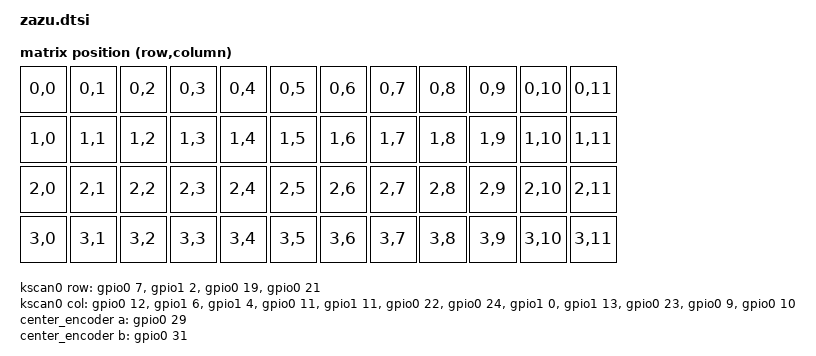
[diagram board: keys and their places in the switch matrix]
/*
 * Copyright (c) 2021 The ZMK Contributors
 *
 * SPDX-License-Identifier: MIT
 */

#include <dt-bindings/zmk/matrix_transform.h>
#define INPUT_EV_KEY 0x01               /**< Key event */
#define INPUT_EV_REL 0x02               /**< Relative coordinate event */
#define INPUT_EV_ABS 0x03               /**< Absolute coordinate event */
#define INPUT_EV_MSC 0x04               /**< Miscellaneous event */
#define INPUT_EV_VENDOR_START 0xf0      /**< Vendor specific event start */
#define INPUT_EV_VENDOR_STOP 0xff       /**< Vendor specific event stop */

#define INPUT_REL_X 0x00                /**< Relative X coordinate */
#define INPUT_REL_Y 0x01                /**< Relative Y coordinate */
#define INPUT_REL_WHEEL 0x08            /**< Relative wheel coordinate */
#define INPUT_REL_HWHEEL 0x06           /**< Relative horizontal wheel coordinate */
#define INPUT_REL_MISC 0x09             /**< Relative misc coordinate */

/ {
    chosen {
        zmk,kscan = &kscan0;
        zmk,matrix_transform = &default_transform;
        zephyr,display = &oled;
    };

    default_transform: keymap_transform_0 {
        compatible = "zmk,matrix-transform";
        columns = <12>;
        rows = <4>;
        map = <
RC(0,0) RC(0,1) RC(0,2) RC(0,3) RC(0,4) RC(0,5) RC(0,6) RC(0,7) RC(0,8) RC(0,9) RC(0,10) RC(0,11) 
RC(1,0) RC(1,1) RC(1,2) RC(1,3) RC(1,4) RC(1,5) RC(1,6) RC(1,7) RC(1,8) RC(1,9) RC(1,10) RC(1,11) 
RC(2,0) RC(2,1) RC(2,2) RC(2,3) RC(2,4) RC(2,5) RC(2,6) RC(2,7) RC(2,8) RC(2,9) RC(2,10) RC(2,11)
RC(3,0) RC(3,1) RC(3,2) RC(3,3) RC(3,4) RC(3,5) RC(3,6) RC(3,7) RC(3,8) RC(3,9) RC(3,10) RC(3,11)
        >;
    };

    kscan0: kscan {
        compatible = "zmk,kscan-gpio-matrix";

        diode-direction = "col2row";
		col-gpios
			= <&gpio0 12 GPIO_ACTIVE_HIGH>
			, <&gpio1 6 GPIO_ACTIVE_HIGH>
			, <&gpio1 4 GPIO_ACTIVE_HIGH>
			, <&gpio0 11 GPIO_ACTIVE_HIGH>
			, <&gpio1 11 GPIO_ACTIVE_HIGH>
			, <&gpio0 22 GPIO_ACTIVE_HIGH>
			, <&gpio0 24 GPIO_ACTIVE_HIGH>
			, <&gpio1 0 GPIO_ACTIVE_HIGH>
			, <&gpio1 13 GPIO_ACTIVE_HIGH>
			, <&gpio0 23 GPIO_ACTIVE_HIGH>
            , <&gpio0 9 GPIO_ACTIVE_HIGH>
            , <&gpio0 10 GPIO_ACTIVE_HIGH>
			;
		row-gpios
			= <&gpio0 7 (GPIO_ACTIVE_HIGH | GPIO_PULL_DOWN)>
			, <&gpio1 2 (GPIO_ACTIVE_HIGH | GPIO_PULL_DOWN)>
			, <&gpio0 19  (GPIO_ACTIVE_HIGH | GPIO_PULL_DOWN)>
			, <&gpio0 21 (GPIO_ACTIVE_HIGH | GPIO_PULL_DOWN)>
			;

    };
    center_encoder: encoder_center {
		compatible = "alps,ec11";
		label = "CENTER_ENCODER";
		a-gpios = <&gpio0 29 (GPIO_ACTIVE_HIGH | GPIO_PULL_DOWN)>;
		b-gpios = <&gpio0 31 (GPIO_ACTIVE_HIGH | GPIO_PULL_DOWN)>;
		resolution = <2>;
        steps = <30>;
		status = "okay";
	};
	sensors {
		compatible = "zmk,keymap-sensors";
		sensors = <&center_encoder>;
	};

};

&pinctrl {
    i2c0_default: i2c0_default {
        group1 {
            psels = <NRF_PSEL(TWIM_SDA, 1, 15)>,
                <NRF_PSEL(TWIM_SCL, 1, 8)>;
        };
    };

    i2c0_sleep: i2c0_sleep {
        group1 {
            psels = <NRF_PSEL(TWIM_SDA, 1, 15)>,
                <NRF_PSEL(TWIM_SCL, 1, 8)>;
            low-power-enable;
        };
    };	

    spi1_default: spi1_default {
        group1 {
            psels = <NRF_PSEL(SPIM_SCK, 0, 8)>,
                <NRF_PSEL(SPIM_MOSI, 0, 17)>,
                <NRF_PSEL(SPIM_MISO, 0, 17)>;
        };
    };

    spi1_sleep: spi1_sleep {
        group1 {
            psels = <NRF_PSEL(SPIM_SCK, 0, 8)>,
                <NRF_PSEL(SPIM_MOSI, 0, 17)>,
                <NRF_PSEL(SPIM_MISO, 0, 17)>;
            low-power-enable;
        };
    };
};

&i2c0 {
	status = "okay";

	compatible = "nordic,nrf-twi";
    pinctrl-0 = <&i2c0_default>;
    pinctrl-1 = <&i2c0_sleep>;
	oled: ssd1306@3c {
        compatible = "solomon,ssd1306fb";
        reg = <0x3c>;
        width = <128>;
        height = <32>;
        segment-offset = <0>;
        page-offset = <0>;
        display-offset = <0>;
        multiplex-ratio = <31>;
	segment-remap;
        com-invdir;
        com-sequential;
        inversion-on;
        prechargep = <0x22>;
	};
};

&uart0 {
	status = "disabled";
};

&spi1 {
	compatible = "nordic,nrf-spim";
	status = "okay";
    pinctrl-0 = <&spi1_default>;
	pinctrl-1 = <&spi1_sleep>;
	pinctrl-names = "default", "sleep";
	cs-gpios = <&gpio0 20 GPIO_ACTIVE_LOW>;
	pd0: pd@0 {
		compatible = "pixart,pmw3610";
		status = "okay";
		label = "TRACKBALL0";
		reg = <0>;
		spi-max-frequency = <4000000>;
	    irq-gpios = <&gpio0 6 (GPIO_ACTIVE_LOW | GPIO_PULL_UP)>;
	    cpi = <500>;
	    evt-type = <INPUT_EV_REL>;
	    x-input-code = <INPUT_REL_X>;
	    y-input-code = <INPUT_REL_Y>;
	};
};


/{
  trackball_listener { 
    compatible = "zmk,input-listener";
    device = <&pd0>;
  };
};


/{
/*   auto toggle mouse key layer 
*  trackball_peripheral_auto_mouse_listener {
*        compatible = "zmk,input-behavior-listener";
*        device = <&pd0>;
*        layers = <0>;
*	evt-type = <INPUT_EV_REL>;
*	x-input-code = <INPUT_REL_X>;
*	y-input-code = <INPUT_REL_WHEEL>;
*	scale-multiplier = <1>;
*	scale-divisor = <1>;
*        bindings = <&ib_tog_layer 5>;
*   };
*/
   /* input config for mouse scroll mode on momentary mouse scoll layer */
   trackball_peripheral_scroll_listener {
           compatible = "zmk,input-behavior-listener";
           device = <&pd0>;
           layers = <3>;
           evt-type = <INPUT_EV_REL>;
           /* slienting x-axis with alt event code */
           x-input-code = <INPUT_REL_HWHEEL>;
           y-input-code = <INPUT_REL_WHEEL>;   
           /* invent scrolling direction */
           y-invert;
           /* align to CCW 45 degree */
           rotate-deg = <180>;
           /* NOTE 1: This settings do not compitable with y-invert and x-invert */
           /* NOTE 2: Floating point computation requires alot of ram. */
           /*         This feature will cuase stackove flow with CONFIG_ZMK_USB_LOGGING=y *   
           /* bind a behavior to down scaling input value to (1/8) */
           /* NOTE: This behavior is different to scale-divisor. */
           /*       The delta value is accumlated until result >= 1 after cast. */
           /*       The scrolling is preented in hi-res and allow precise scrolling */
           bindings = <&ib_wheel_scaler_x 1 8 &ib_wheel_scaler_y 1 10>;
   };

   trackball_peripheral_snipe_listener {
          compatible = "zmk,input-behavior-listener";
          device = <&pd0>;
          layers = <6>;
          evt-type = <INPUT_EV_REL>;
          x-input-code = <INPUT_REL_X>;
          y-input-code = <INPUT_REL_Y>;
          scale-multiplier = <1>;
          scale-divisor = <1>;
          /*rotate-deg = <315>;*/
          bindings = <&ib_snipe_scaler_x 1 8 &ib_snipe_scaler_y 1 8>;
   };

   /* adjust cooldown waiting period for mouse key layer (MSK) after activated */
   ib_tog_layer: ib_tog_layer {
        compatible = "zmk,input-behavior-tog-layer";
        #binding-cells = <1>;
        time-to-live-ms = <2000>;
    };

    /* define a resolution down scaler only for INPUT_REL_WHEEL */
    ib_wheel_scaler_x: ib_wheel_scaler_x {
        compatible = "zmk,input-behavior-scaler";
        #binding-cells = <2>;
        evt-type = <INPUT_EV_REL>;
        input-code = <INPUT_REL_WHEEL>;
    };

    ib_wheel_scaler_y: ib_wheel_scaler_y {
        compatible = "zmk,input-behavior-scaler";
        #binding-cells = <2>;
        evt-type = <INPUT_EV_REL>;
        input-code = <INPUT_REL_HWHEEL>;
    };

    ib_snipe_scaler_x: ib_snipe_scaler_x {
        compatible = "zmk,input-behavior-scaler";
        #binding-cells = <2>;
        evt-type = <INPUT_EV_REL>;
        input-code = <INPUT_REL_X>;
    };

    ib_snipe_scaler_y: ib_snipe_scaler_y {
        compatible = "zmk,input-behavior-scaler";
        #binding-cells = <2>;
        evt-type = <INPUT_EV_REL>;
        input-code = <INPUT_REL_Y>;
    };
};
